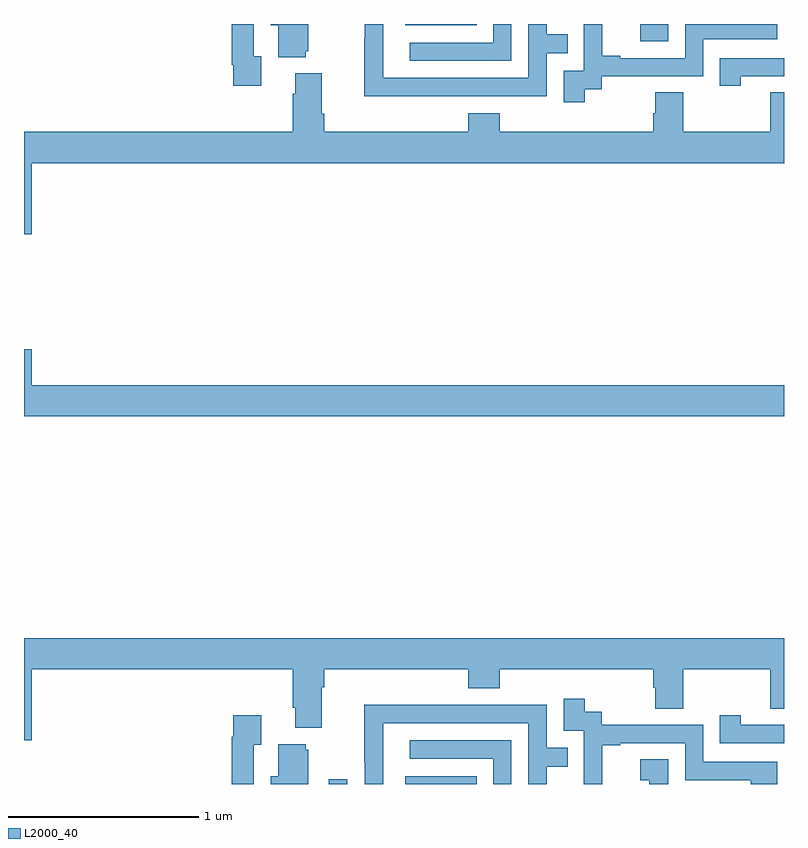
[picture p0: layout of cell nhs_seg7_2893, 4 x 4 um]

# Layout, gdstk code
import gdstk
lib = gdstk.Library(unit=1e-6, precision=1e-09)
def R(c, l, rs):  # rectangles x0, y0, x1, y1
    for r in rs: c.add(gdstk.rectangle(r[:2], r[2:], *l))
def P(c, l, *ps):  # polygons
    for p in ps: c.add(gdstk.Polygon(p, *l))
L2000_40 = (2000, 40)

nhs_seg7_2893 = lib.new_cell('nhs_seg7_2893')
R(nhs_seg7_2893, L2000_40, [(298.605,1012,298.701,1012.024), (299.006,1012,299.384,1012.042), (300.243,1015.908,300.39,1016), (299.006,1015.994,299.384,1016)])
P(nhs_seg7_2893, L2000_40, [(299.95,1015.657),(300.042,1015.657),(300.042,1015.725),(300.576,1015.725),(300.576,1015.92),(300.965,1015.92),(300.965,1016),(300.48,1016),(300.48,1015.821),(300.139,1015.821),(300.139,1015.834),(300.044,1015.834),(300.044,1016),(299.945,1016),(299.945,1015.985),(299.946,1015.985),(299.946,1015.755),(299.841,1015.755),(299.841,1015.587),(299.95,1015.587)],
  [(298.249,1015.83),(298.209,1015.83),(298.209,1016),(298.093,1016),(298.093,1015.786),(298.101,1015.786),(298.101,1015.674),(298.249,1015.674)],
  [(299.565,1016),(299.469,1016),(299.469,1015.902),(299.031,1015.902),(299.031,1015.806),(299.565,1015.806)],
  [(299.255,1015.62),(299.751,1015.62),(299.751,1015.845),(299.861,1015.845),(299.861,1015.946),(299.751,1015.946),(299.751,1016),(299.655,1016),(299.655,1015.716),(298.89,1015.716),(298.89,1016),(298.794,1016),(298.794,1015.925),(298.792,1015.925),(298.792,1015.619),(299.255,1015.619)],
  [(298.484,1015.857),(298.495,1015.857),(298.495,1016),(298.298,1016),(298.298,1015.994),(298.337,1015.994),(298.337,1015.826),(298.484,1015.826)],
  [(300.772,1015.725),(301,1015.725),(301,1015.821),(300.661,1015.821),(300.661,1015.674),(300.772,1015.674)],
  [(297.04,1015.268),(301,1015.268),(301,1015.64),(300.928,1015.64),(300.928,1015.432),(300.471,1015.432),(300.471,1015.64),(300.323,1015.64),(300.323,1015.53),(300.311,1015.53),(300.311,1015.432),(299.504,1015.432),(299.504,1015.531),(299.339,1015.531),(299.339,1015.432),(298.58,1015.432),(298.58,1015.528),(298.567,1015.528),(298.567,1015.741),(298.427,1015.741),(298.427,1015.634),(298.415,1015.634),(298.415,1015.432),(297,1015.432),(297,1014.894),(297.04,1014.894)],
  [(301,1014.1),(297.04,1014.1),(297.04,1014.289),(297,1014.289),(297,1013.936),(301,1013.936)],
  [(297,1012.23),(297.04,1012.23),(297.04,1012.604),(298.415,1012.604),(298.415,1012.402),(298.427,1012.402),(298.427,1012.295),(298.567,1012.295),(298.567,1012.508),(298.58,1012.508),(298.58,1012.604),(299.339,1012.604),(299.339,1012.505),(299.504,1012.505),(299.504,1012.604),(300.311,1012.604),(300.311,1012.506),(300.323,1012.506),(300.323,1012.396),(300.471,1012.396),(300.471,1012.604),(300.928,1012.604),(300.928,1012.396),(301,1012.396),(301,1012.768),(297,1012.768)],
  [(300.044,1012.203),(300.139,1012.203),(300.139,1012.215),(300.48,1012.215),(300.48,1012.02),(300.825,1012.02),(300.825,1012),(300.965,1012),(300.965,1012.116),(300.576,1012.116),(300.576,1012.311),(300.042,1012.311),(300.042,1012.38),(299.95,1012.38),(299.95,1012.45),(299.841,1012.45),(299.841,1012.281),(299.946,1012.281),(299.946,1012.052),(299.945,1012.052),(299.945,1012),(300.044,1012)],
  [(298.89,1012.32),(299.655,1012.32),(299.655,1012),(299.751,1012),(299.751,1012.09),(299.861,1012.09),(299.861,1012.191),(299.751,1012.191),(299.751,1012.416),(299.255,1012.416),(299.255,1012.418),(298.792,1012.418),(298.792,1012.111),(298.794,1012.111),(298.794,1012),(298.89,1012)],
  [(298.209,1012.207),(298.249,1012.207),(298.249,1012.363),(298.101,1012.363),(298.101,1012.25),(298.093,1012.25),(298.093,1012),(298.209,1012)],
  [(301,1012.311),(300.772,1012.311),(300.772,1012.363),(300.661,1012.363),(300.661,1012.215),(301,1012.215)],
  [(299.565,1012.23),(299.031,1012.23),(299.031,1012.134),(299.469,1012.134),(299.469,1012),(299.565,1012)],
  [(298.495,1012.179),(298.484,1012.179),(298.484,1012.21),(298.337,1012.21),(298.337,1012.042),(298.298,1012.042),(298.298,1012),(298.495,1012)],
  [(300.39,1012.129),(300.243,1012.129),(300.243,1012.019),(300.292,1012.019),(300.292,1012),(300.39,1012)])

lib.write_gds('nhs_seg7_2893.gds')
